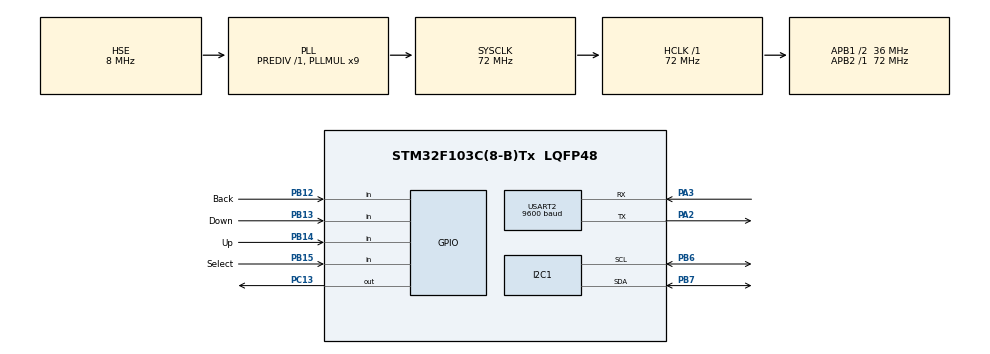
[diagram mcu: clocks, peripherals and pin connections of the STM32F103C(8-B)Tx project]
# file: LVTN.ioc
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Mcu.Family=STM32F1
Mcu.Name=STM32F103C(8-B)Tx
Mcu.Package=LQFP48
NVIC.PriorityGroup=NVIC_PRIORITYGROUP_4
NVIC.USART2_IRQn=true\:0\:0\:false\:false\:true\:true\:true\:true
PA13.Mode=Serial_Wire
PA13.Signal=SYS_JTMS-SWDIO
PA14.Mode=Serial_Wire
PA14.Signal=SYS_JTCK-SWCLK
PA2.Mode=Asynchronous
PA2.Signal=USART2_TX
PA3.Mode=Asynchronous
PA3.Signal=USART2_RX
PB12.GPIO_Label=Back
PB12.GPIO_PuPd=GPIO_PULLUP
PB12.Signal=GPIO_Input
PB13.GPIO_Label=Down
PB13.GPIO_PuPd=GPIO_PULLUP
PB13.Signal=GPIO_Input
PB14.GPIO_Label=Up
PB14.GPIO_PuPd=GPIO_PULLUP
PB14.Signal=GPIO_Input
PB15.GPIO_Label=Select
PB15.GPIO_PuPd=GPIO_PULLUP
PB15.Signal=GPIO_Input
PB6.Mode=I2C
PB6.Signal=I2C1_SCL
PB7.Mode=I2C
PB7.Signal=I2C1_SDA
PC13-TAMPER-RTC.Signal=GPIO_Output
PD0-OSC_IN.Mode=HSE-External-Oscillator
PD0-OSC_IN.Signal=RCC_OSC_IN
PD1-OSC_OUT.Mode=HSE-External-Oscillator
PD1-OSC_OUT.Signal=RCC_OSC_OUT
ProjectManager.HeapSize=0x200
ProjectManager.StackSize=0x400
ProjectManager.TargetToolchain=MDK-ARM V5.32
RCC.AHBFreq_Value=72000000
RCC.APB1CLKDivider=RCC_HCLK_DIV2
RCC.APB1Freq_Value=36000000
RCC.APB1TimFreq_Value=72000000
RCC.APB2Freq_Value=72000000
RCC.APB2TimFreq_Value=72000000
RCC.HCLKFreq_Value=72000000
RCC.PLLMUL=RCC_PLL_MUL9
RCC.PLLSourceVirtual=RCC_PLLSOURCE_HSE
RCC.SYSCLKFreq_VALUE=72000000
RCC.SYSCLKSource=RCC_SYSCLKSOURCE_PLLCLK
RCC.USBFreq_Value=72000000
USART2.BaudRate=9600
USART2.VirtualMode=VM_ASYNC
board=custom

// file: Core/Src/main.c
/* USER CODE BEGIN Header */
/**
  ******************************************************************************
  * @file           : main.c
  * @brief          : Main program body
  ******************************************************************************
  * @attention
  *
  * Copyright (c) 2023 STMicroelectronics.
  * All rights reserved.
  *
  * This software is licensed under terms that can be found in the LICENSE file
  * in the root directory of this software component.
  * If no LICENSE file comes with this software, it is provided AS-IS.
  *
  ******************************************************************************
  */
/* USER CODE END Header */
#include "main.h"

/* USER CODE BEGIN Includes */
#include "stdio.h"
#include "string.h"
#include "stdbool.h"
#include "HM3301.h"
#include "SHT30.h"
#include "BH1750.h"
#include "DS1307.h"
#include "CLCD_I2C.h"
#include "AT24C32.h"
/* USER CODE END Includes */

/* USER CODE BEGIN PTD */

//Khoi tao mode
typedef enum{
	Mode1, // Measure
	Mode2, // Memory
	Mode3, // Setting
}Mode_choose;

typedef enum{
	Mode1_Begin,
	Mode1_Measure_Temp1Hum1,
	Mode1_Measure_Temp2Hum2,
	Mode1_Measure_Lux1,
	Mode1_Measure_Lux2,
	Mode1_Measure_PM25,

	Mode1_Save,
}Mode_1_t;

typedef enum{
	Mode2_Begin,
	Mode2_Display_Memory,
}Mode_2_t;

typedef enum{
	Mode3_Begin,
	Mode3_Setting_Time
}Mode_3_t;

//Gan kieu du lieu
struct{
	uint16_t Temp1;
	uint16_t Hum1;
	uint16_t Temp2;
	uint16_t Hum2;
	uint16_t Lux1;
	uint16_t Lux2;
	uint16_t Dust_PM25;
	uint16_t Day;
	uint16_t Month;
	uint16_t Year;
	uint16_t Hour;
	uint16_t Min;
}Buffer_2byte;

struct{

	uint8_t Temp1_High;
	uint8_t Temp1_Low;
	uint8_t Hum1_High;
	uint8_t Hum1_Low;
	uint8_t Temp2_High;
	uint8_t Temp2_Low;
	uint8_t Hum2_High;
	uint8_t Hum2_Low;
	uint8_t Lux1_High;
	uint8_t Lux1_Low;
	uint8_t Lux2_High;
	uint8_t Lux2_Low;
	uint8_t Dust_PM25_High;
	uint8_t Dust_PM25_Low;
	uint8_t Day_High;
	uint8_t Day_Low;
	uint8_t Month_High;
	uint8_t Month_Low;
	uint8_t Year_High;
	uint8_t Year_Low;
	uint8_t Hour_High;
	uint8_t Hour_Low;
	uint8_t Min_High;
	uint8_t Min_Low;

}EEprom_Buffer;

// Khoi tao struct nut nhan
typedef struct {
	GPIO_TypeDef* Button_Port;
	uint16_t Button_Pin;
	bool Press;
}BUTTON_Name;
/* USER CODE END PTD */

 I2C_HandleTypeDef hi2c1;

UART_HandleTypeDef huart2;

/* USER CODE BEGIN PV */

//Khoi tao Count
extern uint16_t volatile timecount,timepress;
//Khoi tao bien UART
char Buffer_Tx[70];

//Khoi tao bien doc Eeprom
uint8_t Page;
uint16_t Read_Temp1_From_EEprom;
uint16_t Read_Hum1_From_EEprom;
uint16_t Read_Temp2_From_EEprom;
uint16_t Read_Hum2_From_EEprom;
uint16_t Read_Lux1_From_EEprom;
uint16_t Read_Lux2_From_EEprom;
uint16_t Read_PM25_From_EEprom;
uint16_t Read =0;

//Khoi tao cam bien HM3301
HM3301_Name HM3301_device_1 =
{
	.i2c_HM3301_handle = &hi2c1,
	.HM3301_address = HM3301_I2C_DEVICE_ADDRESS_ADDR,
};
uint16_t HM3301_PM25,HM3301_PM10,HM3301_PM100;

// Khoi tao cam bien SHT30
SHT30_Name SHT30_device_1=
{
	.i2c_SHT30_handle = &hi2c1,
	.SHT30_address = SHT30_I2C_DEVICE_ADDRESS_ADDR_PIN_HIGH,
};
uint16_t SHT30_Temp1,SHT30_Hum1;

SHT30_Name SHT30_device_2=
{
	.i2c_SHT30_handle = &hi2c1,
	.SHT30_address = SHT30_I2C_DEVICE_ADDRESS_ADDR_PIN_LOW,
};
uint16_t SHT30_Temp2,SHT30_Hum2;

//Khoi tao cam bien BH1750
BH1750_Name BH1750_device_1 =
{
	.i2c_BH1750_handle = &hi2c1,
	.BH1750_address = BH1750_I2C_DEVICE_ADDRESS_ADDR_PIN_HIGH,
};
uint16_t BH1750_Lux1;

BH1750_Name BH1750_device_2 =
{
	.i2c_BH1750_handle = &hi2c1,
	.BH1750_address = BH1750_I2C_DEVICE_ADDRESS_ADDR_PIN_LOW,
};
uint16_t BH1750_Lux2;

//Khoi tao Uart2
char Tx[100];
int8_t volatile Connect_Status = -1;// 1 esp 8266 da ket noi wifi, 0 ko ket noi dc wifi
char Rx;

// Khoi tao nut nhan
BUTTON_Name Select, Up, Down, Back;

//Khoi tao LCD
CLCD_I2C_Name LCD;
bool Display = true;
char String[70];
// Khoi tao DS1307
DS1307_Name DS1307;
/* USER CODE END PV */

void SystemClock_Config(void);
static void MX_GPIO_Init(void);
static void MX_I2C1_Init(void);
static void MX_USART2_UART_Init(void);
/* USER CODE BEGIN PFP */
void Button_Init(BUTTON_Name* Button, GPIO_TypeDef* Button_Port, uint16_t Button_Pin);//ham khoi tao nut nhan
bool Button_Press(BUTTON_Name* Button);	//ham khoi tao nut nhan
uint16_t Uint8_To_Uint16(uint8_t Msb, uint8_t Lsb);
void Update_Setting(void);
uint8_t Setting_Data(uint8_t Data, uint8_t Limit_Down, uint8_t Limit_Up, bool Inc);
/* USER CODE END PFP */

/* USER CODE BEGIN 0 */
#ifdef __GNUC__
#define PUTCHAR_PROTOTYPE int __io_putchar(int ch)
#else
#define PUTCHAR_PROTOTYPE int fputc(int ch, FILE *f)
#endif /* __GNUC__ */

/**
  * @brief  Retargets the C library printf function to the USART.
  * @param  None
  * @retval None
  */

void HAL_UART_RxCpltCallback(UART_HandleTypeDef *huart)
{
  if(Rx == '1') Connect_Status = 1;
	if(Rx == '0') Connect_Status = 0;
	HAL_UART_Receive_IT(&huart2,(uint8_t *)&Rx,1);
}
/* USER CODE END 0 */

int main(void)
{

  /* MCU Configuration--------------------------------------------------------*/

  /* Reset of all peripherals, Initializes the Flash interface and the Systick. */
  HAL_Init();

  /* Configure the system clock */
  SystemClock_Config();

  /* Initialize all configured peripherals */
  MX_GPIO_Init();
  MX_I2C1_Init();
  MX_USART2_UART_Init();
  /* USER CODE BEGIN 2 */
	HAL_UART_Receive_IT(&huart2,(uint8_t *)&Rx,1);

// khoi tao nut nhan
	Button_Init(&Select,Select_GPIO_Port,Select_Pin);
	Button_Init(&Up,Up_GPIO_Port,Up_Pin);
	Button_Init(&Down,Down_GPIO_Port,Down_Pin);
	Button_Init(&Back,Back_GPIO_Port,Back_Pin);
	if(DS1307_GetClockHalt() != 0)	DS1307_SetClockHalt(0);

	CLCD_I2C_Init(&LCD,&hi2c1,0x7e,20,4);
	CLCD_I2C_SetCursor(&LCD, 0, 0);
	CLCD_I2C_WriteString(&LCD,"Thiet lap he thong");

	HAL_Delay(2000);
///*
		while(1)
		{
			if(Connect_Status ==1)
			{
				CLCD_I2C_Clear(&LCD);
				CLCD_I2C_SetCursor(&LCD,0,0);
				CLCD_I2C_WriteString(&LCD,"ESP8266 ket noi wifi");
				HAL_Delay(2000);
				break;
			}
			if(Connect_Status == 0)
			{
				if(Display == true)
				{
					Display =false;
				CLCD_I2C_Clear(&LCD);
				CLCD_I2C_SetCursor(&LCD,0,0);
				CLCD_I2C_WriteString(&LCD,"ESP8266 chua ket noi ");
				CLCD_I2C_SetCursor(&LCD,0,1);
				CLCD_I2C_WriteString(&LCD,"Truy cap wifi va IP ");
				CLCD_I2C_SetCursor(&LCD,0,2);
				CLCD_I2C_WriteString(&LCD,"ESP_154933");
				CLCD_I2C_SetCursor(&LCD,0,3);
				CLCD_I2C_WriteString(&LCD,"192.168.4.1");
				}
			}
		}
//*/
	Mode_choose Current_Mode = Mode1;
	Mode_1_t Mode_1_Status = Mode1_Begin;
	Mode_2_t Mode_2_Status = Mode2_Begin;
	Mode_3_t Mode_3_Status = Mode3_Begin;
  /* USER CODE END 2 */

  /* Infinite loop */
  while (1)
  {

    /* USER CODE BEGIN 3 */
		switch(Current_Mode)
		{
			case Mode1:
			{
				switch(Mode_1_Status)
				{
					case Mode1_Begin:
					{
						if(timecount >1000)
						{
							timecount=0;
							CLCD_I2C_SetCursor(&LCD, 0, 0);
							DS1307_gettime(&DS1307);
							sprintf((char *)String,"%02d/%02d/20%02d %02d:%02d:%02d ",DS1307.date,DS1307.month,DS1307.year,DS1307.hour,DS1307.min,DS1307.sec);
							CLCD_I2C_WriteString(&LCD,String);
							Display = true;
						}
						if(Display == true)
						{
							Display = false;
							timecount = 0;
							CLCD_I2C_SetCursor(&LCD, 0, 0);
							DS1307_gettime(&DS1307);
							sprintf((char *)String,"%02d/%02d/20%02d %02d:%02d:%02d",DS1307.date,DS1307.month,DS1307.year,DS1307.hour,DS1307.min,DS1307.sec);
							CLCD_I2C_WriteString(&LCD,String);
							CLCD_I2C_SetCursor(&LCD, 0, 1);
							CLCD_I2C_WriteString(&LCD,"T1:");
							CLCD_I2C_SetCursor(&LCD, 6, 1);
							CLCD_I2C_WriteString(&LCD,"H1:");
							CLCD_I2C_SetCursor(&LCD, 12, 1);
							CLCD_I2C_WriteString(&LCD,"L1:");
							CLCD_I2C_SetCursor(&LCD, 0, 2);
							CLCD_I2C_WriteString(&LCD,"T2:");
							CLCD_I2C_SetCursor(&LCD, 6, 2);
							CLCD_I2C_WriteString(&LCD,"H2:");
							CLCD_I2C_SetCursor(&LCD, 12, 2);
							CLCD_I2C_WriteString(&LCD,"L2:");
							CLCD_I2C_SetCursor(&LCD, 0, 3);
							CLCD_I2C_WriteString(&LCD,"PM2.5:");
							CLCD_I2C_SetCursor(&LCD, 14, 3);
							CLCD_I2C_WriteString(&LCD,"Mode1");
						}
						if(Button_Press(&Up))
						{

							Current_Mode = Mode2;
							CLCD_I2C_Clear(&LCD);
							Display=true;
						}
						if(Button_Press(&Select))
						{
							CLCD_I2C_SetCursor(&LCD, 14, 3);
							CLCD_I2C_WriteString(&LCD,"      ");
							timecount = 0;
							HM3301_PM25 =0; // Reset gia tri cu
							SHT30_Temp1=0;
							SHT30_Hum1 =0;
							SHT30_Temp2 =0;
							SHT30_Hum2 =0;
							BH1750_Lux1 = 0;
							BH1750_Lux2 = 0;
							CLCD_I2C_SetCursor(&LCD, 0, 0);
							CLCD_I2C_WriteString(&LCD,"Bat dau do gia tri:");
							HAL_Delay(2000);
							Mode_1_Status = Mode1_Measure_Temp1Hum1;
						}
					}
					break;
					case Mode1_Measure_Temp1Hum1:
					{
							CLCD_I2C_SetCursor(&LCD, 0, 0);
							CLCD_I2C_WriteString(&LCD,"Do Temp1 Hum1:     ");
							SHT30_Read_Temperature_And_Humidity(&SHT30_device_1,&SHT30_Temp1,&SHT30_Hum1);
							HAL_Delay(500);
							CLCD_I2C_SetCursor(&LCD, 3, 1);
							sprintf((char *)String,"%2d",SHT30_Temp1);
							CLCD_I2C_WriteString(&LCD,String);
							CLCD_I2C_SetCursor(&LCD, 9, 1);
							sprintf((char *)String,"%2d",SHT30_Hum1);
							CLCD_I2C_WriteString(&LCD,String);
							HAL_Delay(2000);
							Mode_1_Status = Mode1_Measure_Temp2Hum2;

					}
					break;
					case Mode1_Measure_Temp2Hum2:
					{
							CLCD_I2C_SetCursor(&LCD, 0, 0);
							CLCD_I2C_WriteString(&LCD,"Do Temp2 Hum2:     ");
							SHT30_Read_Temperature_And_Humidity(&SHT30_device_2,&SHT30_Temp2,&SHT30_Hum2);
							HAL_Delay(500);
							CLCD_I2C_SetCursor(&LCD, 3, 2);
							sprintf((char *)String,"%2d",SHT30_Temp2);
							CLCD_I2C_WriteString(&LCD,String);
							CLCD_I2C_SetCursor(&LCD, 9, 2);
							sprintf((char *)String,"%2d",SHT30_Hum2);
							CLCD_I2C_WriteString(&LCD,String);
							HAL_Delay(2000);
							Mode_1_Status = Mode1_Measure_Lux1;

					}
					break;
					case Mode1_Measure_Lux1:
					{
							CLCD_I2C_SetCursor(&LCD, 0, 0);
							CLCD_I2C_WriteString(&LCD,"Do cuong do sang1:  ");
							BH1750_Read_Lux_Mode_One_Time(&BH1750_device_1,&BH1750_Lux1);
							HAL_Delay(500);
							CLCD_I2C_SetCursor(&LCD, 15, 1);
							sprintf((char *)String,"%2d",BH1750_Lux1);
							CLCD_I2C_WriteString(&LCD,String);
							HAL_Delay(2000);
							Mode_1_Status = Mode1_Measure_Lux2;
					}
					break;
					case Mode1_Measure_Lux2:
					{
							CLCD_I2C_SetCursor(&LCD, 0, 0);
							CLCD_I2C_WriteString(&LCD,"Do cuong do sang2:  ");
							BH1750_Read_Lux_Mode_One_Time(&BH1750_device_2,&BH1750_Lux2);
							HAL_Delay(500);
							CLCD_I2C_SetCursor(&LCD, 15, 2);
							sprintf((char *)String,"%2d",BH1750_Lux2);
							CLCD_I2C_WriteString(&LCD,String);
							HAL_Delay(2000);
							Mode_1_Status = Mode1_Measure_PM25;
					}
					break;
					case Mode1_Measure_PM25:
					{
						CLCD_I2C_SetCursor(&LCD, 0, 0);
						CLCD_I2C_WriteString(&LCD,"Do bui PM2.5:       ");
						HM3301_Read_Dust_Value_Standard_Particulate(&HM3301_device_1,&HM3301_PM10,&HM3301_PM25,&HM3301_PM100);
						HAL_Delay(500);
						CLCD_I2C_SetCursor(&LCD, 6, 3);
						sprintf((char *)String,"%2d",HM3301_PM25);
						CLCD_I2C_WriteString(&LCD,String);
						HAL_Delay(2000);
						CLCD_I2C_SetCursor(&LCD, 0, 0);
						CLCD_I2C_WriteString(&LCD,"Da do xong gia tri:");
						Mode_1_Status = Mode1_Save;
					}

					break;
					case Mode1_Save:
					{

						if(Button_Press(&Back))
						{

							CLCD_I2C_SetCursor(&LCD, 0, 0);
							CLCD_I2C_WriteString(&LCD,"Khong luu lai:      ");
							HM3301_PM25 =0; // Reset gia tri
							SHT30_Temp1=0;
							SHT30_Hum1 =0;
							SHT30_Temp2 =0;
							SHT30_Hum2 =0;
							BH1750_Lux1 = 0;
							BH1750_Lux2 = 0;
							HAL_Delay(2000);
							Mode_1_Status = Mode1_Begin;
							CLCD_I2C_Clear(&LCD);
							Display = true;
						}

						if(Button_Press(&Select))
						{
							CLCD_I2C_SetCursor(&LCD, 0, 0);
							CLCD_I2C_WriteString(&LCD,"Dang luu gia tri:   ");
							for(int i=10;i>=0;i--)
							{
								AT24C32_ReadEEPROM(i*25,&EEprom_Buffer,24);
								AT24C32_WriteEEPROM((i+1)*25,&EEprom_Buffer,24);
							}

							Buffer_2byte.Temp1 = SHT30_Temp1;
							Buffer_2byte.Hum1 = SHT30_Hum1;
							Buffer_2byte.Temp2 = SHT30_Temp2;
							Buffer_2byte.Hum2 = SHT30_Hum2;
							Buffer_2byte.Lux1 = BH1750_Lux1;
							Buffer_2byte.Lux2 = BH1750_Lux2;
							Buffer_2byte.Dust_PM25 = HM3301_PM25;
							Buffer_2byte.Day =DS1307.date;
							Buffer_2byte.Month = DS1307.month;
							Buffer_2byte.Year = DS1307.year;
							Buffer_2byte.Hour = DS1307.hour;
							Buffer_2byte.Min = DS1307.min;

							EEprom_Buffer.Temp1_High = (Buffer_2byte.Temp1 >>8u) & 0xff;
							EEprom_Buffer.Temp1_Low = Buffer_2byte.Temp1  & 0xff;
							EEprom_Buffer.Hum1_High = (Buffer_2byte.Hum1 >>8u) & 0xff;
							EEprom_Buffer.Hum1_Low = Buffer_2byte.Hum1  & 0xff;
							EEprom_Buffer.Temp2_High = (Buffer_2byte.Temp2 >>8u) & 0xff;
							EEprom_Buffer.Temp2_Low = Buffer_2byte.Temp2  & 0xff;
							EEprom_Buffer.Hum2_High = (Buffer_2byte.Hum2 >>8u) & 0xff;
							EEprom_Buffer.Hum2_Low = Buffer_2byte.Hum2  & 0xff;
							EEprom_Buffer.Lux1_High = (Buffer_2byte.Lux1 >>8u) & 0xff;
							EEprom_Buffer.Lux1_Low = Buffer_2byte.Lux1  & 0xff;
							EEprom_Buffer.Lux2_High = (Buffer_2byte.Lux2 >>8u) & 0xff;
							EEprom_Buffer.Lux2_Low = Buffer_2byte.Lux2  & 0xff;
							EEprom_Buffer.Dust_PM25_High = (Buffer_2byte.Dust_PM25 >>8u) &0xff;
							EEprom_Buffer.Dust_PM25_Low = Buffer_2byte.Dust_PM25  &0xff;
							EEprom_Buffer.Day_High = (Buffer_2byte.Day>>8u) & 0xff;
							EEprom_Buffer.Day_Low = 	Buffer_2byte.Day & 0xff;
							EEprom_Buffer.Month_High = (Buffer_2byte.Month>>8u) & 0xff;
							EEprom_Buffer.Month_Low = 	Buffer_2byte.Month & 0xff;
							EEprom_Buffer.Year_High = (Buffer_2byte.Year>>8u) & 0xff;
							EEprom_Buffer.Year_Low = 	Buffer_2byte.Year & 0xff;
							EEprom_Buffer.Hour_High = (Buffer_2byte.Hour>>8u) & 0xff;
							EEprom_Buffer.Hour_Low = 	Buffer_2byte.Hour & 0xff;
							EEprom_Buffer.Min_High = (Buffer_2byte.Min>>8u) & 0xff;
							EEprom_Buffer.Min_Low = 	Buffer_2byte.Min & 0xff;
							AT24C32_WriteEEPROM(0,&EEprom_Buffer,24);
							HAL_Delay(2000);
							CLCD_I2C_SetCursor(&LCD, 0, 0);
							CLCD_I2C_WriteString(&LCD,"Da luu gia tri:    ");
							sprintf((char *)Tx,"A%2dB%2dC%2dD%2dE%2dF%2dG%2dH",SHT30_Temp1,SHT30_Hum1,SHT30_Temp2,SHT30_Hum2,BH1750_Lux1,BH1750_Lux2,HM3301_PM25);
							HAL_UART_Transmit(&huart2,(uint8_t*)Tx,sizeof(Tx),1000);
							HAL_Delay(10000);
							Mode_1_Status = Mode1_Begin;
							CLCD_I2C_Clear(&LCD);
							Display = true;
						}
					}
					break;
				}
			}
			break;
			case Mode2:
			{
				switch(Mode_2_Status)
				{
					case Mode2_Begin:
					{
						if(Display == true)
						{
							Display = false;
							CLCD_I2C_SetCursor(&LCD, 0, 0);
							CLCD_I2C_WriteString(&LCD,"Mode2");
						}

						if(Button_Press(&Up))
						{
							Current_Mode = Mode3;
							CLCD_I2C_Clear(&LCD);
							Display=true;
						}
							if(Button_Press(&Down))
						{
							Current_Mode = Mode1;
							CLCD_I2C_Clear(&LCD);
							Display=true;
						}
						if(Button_Press(&Select))
						{
							Mode_2_Status = Mode2_Display_Memory;
							Page =0;
							CLCD_I2C_Clear(&LCD);
							Display=true;
						}
					}
					break;
					case Mode2_Display_Memory:
					{
						if(Display == true)
						{
							Display = false;
							CLCD_I2C_SetCursor(&LCD, 0, 0);
							AT24C32_ReadEEPROM(Page*25,&EEprom_Buffer,24);
							sprintf((char *)String,"M%1d:%02d/%02d/20%02d %02d:%02d",Page+1,EEprom_Buffer.Day_Low,EEprom_Buffer.Month_Low,EEprom_Buffer.Year_Low,EEprom_Buffer.Hour_Low,EEprom_Buffer.Min_Low);
							CLCD_I2C_WriteString(&LCD,String);
							//Hien thi Temp1
							CLCD_I2C_SetCursor(&LCD, 0, 1);
							Read_Temp1_From_EEprom = Uint8_To_Uint16(EEprom_Buffer.Temp1_High,EEprom_Buffer.Temp1_Low);
							sprintf((char *)String,"T1:%2d",Read_Temp1_From_EEprom);
							CLCD_I2C_WriteString(&LCD,String);

							//Hien thi Hum1
							CLCD_I2C_SetCursor(&LCD, 6, 1);
							Read_Hum1_From_EEprom = Uint8_To_Uint16(EEprom_Buffer.Hum1_High,EEprom_Buffer.Hum1_Low);
							sprintf((char *)String,"H1:%2d",Read_Hum1_From_EEprom);
							CLCD_I2C_WriteString(&LCD,String);

							// Hien thi Lux1
							CLCD_I2C_SetCursor(&LCD, 12, 1);
							Read_Lux1_From_EEprom = Uint8_To_Uint16(EEprom_Buffer.Lux1_High,EEprom_Buffer.Lux1_Low);
							sprintf((char *)String,"L1:%5d",Read_Lux1_From_EEprom);
							CLCD_I2C_WriteString(&LCD,String);

							//Hien thi Temp2
							CLCD_I2C_SetCursor(&LCD, 0, 2);
							Read_Temp2_From_EEprom = Uint8_To_Uint16(EEprom_Buffer.Temp2_High,EEprom_Buffer.Temp2_Low);
							sprintf((char *)String,"T2:%2d",Read_Temp2_From_EEprom);
							CLCD_I2C_WriteString(&LCD,String);

							//Hien thi Hum2
							CLCD_I2C_SetCursor(&LCD, 6, 2);
							Read_Hum2_From_EEprom = Uint8_To_Uint16(EEprom_Buffer.Hum2_High,EEprom_Buffer.Hum2_Low);
							sprintf((char *)String,"H2:%2d",Read_Hum2_From_EEprom);
							CLCD_I2C_WriteString(&LCD,String);

							//Hien thi Lux2
							CLCD_I2C_SetCursor(&LCD, 12, 2);
							Read_Lux2_From_EEprom = Uint8_To_Uint16(EEprom_Buffer.Lux2_High,EEprom_Buffer.Lux2_Low);
							sprintf((char *)String,"L2:%5d",Read_Lux2_From_EEprom);
							CLCD_I2C_WriteString(&LCD,String);

							//Hien thi PM2.5
							CLCD_I2C_SetCursor(&LCD, 0, 3);
							Read_PM25_From_EEprom = Uint8_To_Uint16(EEprom_Buffer.Dust_PM25_High,EEprom_Buffer.Dust_PM25_Low);
							sprintf((char *)String,"PM25:%4d",Read_PM25_From_EEprom);
							CLCD_I2C_WriteString(&LCD,String);
						}
						if(Button_Press(&Select) && timepress > 1000)
						{
							//Dich vung nho
							for(int8_t i=Page;i<=10 ;i++)
							{
								AT24C32_ReadEEPROM((i+1)*25,&EEprom_Buffer,24);
								AT24C32_WriteEEPROM(i*25,&EEprom_Buffer,24);
							}
							//Xoa o nho cuoi cung
							EEprom_Buffer.Temp1_High = 0;
							EEprom_Buffer.Temp1_Low = 0;
							EEprom_Buffer.Hum1_High = 0;
							EEprom_Buffer.Hum1_Low = 0;
							EEprom_Buffer.Temp2_High = 0;
							EEprom_Buffer.Temp2_Low = 0;
							EEprom_Buffer.Hum2_High = 0;
							EEprom_Buffer.Hum2_Low = 0;
							EEprom_Buffer.Lux1_High = 0;
							EEprom_Buffer.Lux1_Low = 0;
							EEprom_Buffer.Lux2_High = 0;
							EEprom_Buffer.Lux2_Low = 0;
							EEprom_Buffer.Dust_PM25_High = 0;
							EEprom_Buffer.Dust_PM25_Low = 0;
							EEprom_Buffer.Day_High = 0;
							EEprom_Buffer.Day_Low = 	0;
							EEprom_Buffer.Month_High =0;
							EEprom_Buffer.Month_Low = 	0;
							EEprom_Buffer.Year_High = 0;
							EEprom_Buffer.Year_Low = 0;
							EEprom_Buffer.Hour_High = 0;
							EEprom_Buffer.Hour_Low = 	0;
							EEprom_Buffer.Min_High = 0;
							EEprom_Buffer.Min_Low = 	0;
							AT24C32_WriteEEPROM(275,&EEprom_Buffer,24);
							CLCD_I2C_Clear(&LCD);
							Display = true;
						}
							if(Button_Press(&Back))
						{
							CLCD_I2C_Clear(&LCD);
							Display=true;
							Mode_2_Status = Mode2_Begin;

						}
						if(Button_Press(&Up))
						{
							if(Page<10)
							{
								CLCD_I2C_Clear(&LCD);
								Display=true;
								Page++;
							}
						}
						if(Button_Press(&Down))
						{

							if(Page>0)
							{
								CLCD_I2C_Clear(&LCD);
								Display=true;
								Page--;
							}
						}

					}
					break;
				}
			}
			break;
			case Mode3:
			{
				switch(Mode_3_Status)
				{
					case Mode3_Begin:
					{
						if(Display ==true)
						{
							Display =false;
							CLCD_I2C_SetCursor(&LCD,0,0);
							CLCD_I2C_Clear(&LCD);
							CLCD_I2C_WriteString(&LCD,"Mode3");
						}
						if(Button_Press(&Down))
						{
							Current_Mode = Mode2;
							CLCD_I2C_Clear(&LCD);
							Display=true;
						}
						if(Button_Press(&Select))
						{
							Mode_3_Status = Mode3_Setting_Time;
							CLCD_I2C_Clear(&LCD);
							Display=true;
						}
					}
					break;
					case Mode3_Setting_Time:
					{

						if(Display ==true)
						{
						Display=false;
						CLCD_I2C_SetCursor(&LCD,0,0);
						CLCD_I2C_WriteString(&LCD,"Cai dat thoi gian:  ");

						}
						if(timecount >1000)
						{
						timecount =0;
						DS1307_gettime(&DS1307);
						CLCD_I2C_SetCursor(&LCD,0,1);
						sprintf((char *)String,"%02d/%02d/20%02d %02d:%02d:%02d",DS1307.date,DS1307.month,DS1307.year,DS1307.hour,DS1307.min,DS1307.sec);
						CLCD_I2C_WriteString(&LCD,String);
						}
						if(Button_Press(&Select) && timepress >1000)
						{
							timepress = 0;
							CLCD_I2C_BlinkOn(&LCD);
							uint8_t number=1;
							while(1)
							{
							if(Button_Press(&Select))
							{
								timepress =0;
								number++;
							}
							if(number>5)
							{
								number =1;
							}
								if(Button_Press(&Back))
							{
								CLCD_I2C_SetCursor(&LCD,0,0);
								CLCD_I2C_WriteString(&LCD,"Da luu lai cai dat: ");
								DS1307_settime(0,DS1307.min,DS1307.hour,DS1307.date,DS1307.month,DS1307.year);
								CLCD_I2C_BlinkOff(&LCD);
								HAL_Delay(2000);
								Display =true;
								break;
							}
							switch (number)
							{
								case 1:
								{
									CLCD_I2C_SetCursor(&LCD,0,1);
									if(Button_Press(&Up)){DS1307.date = Setting_Data(DS1307.date,1,31,1);}
									if(Button_Press(&Down)){DS1307.date = Setting_Data(DS1307.date,1,31,0);}

								}
								break;
								case 2:
								{
									CLCD_I2C_SetCursor(&LCD,3,1);
									if(Button_Press(&Up)){DS1307.month = Setting_Data(DS1307.month,1,12,1);}
									if(Button_Press(&Down)){DS1307.month = Setting_Data(DS1307.month,1,12,0);}
								}
								break;
								case 3:
								{
									CLCD_I2C_SetCursor(&LCD,8,1);
									if(Button_Press(&Up)){DS1307.year = Setting_Data(DS1307.year,0,99,1);}
									if(Button_Press(&Down)){DS1307.year = Setting_Data(DS1307.year,0,99,0);}
								}
								break;
								case 4:
								{
									CLCD_I2C_SetCursor(&LCD,11,1);
									if(Button_Press(&Up)){DS1307.hour = Setting_Data(DS1307.hour,0,23,1);}
									if(Button_Press(&Down)){DS1307.hour = Setting_Data(DS1307.hour,0,23,0);}
								}
								break;
								case 5:
								{
									CLCD_I2C_SetCursor(&LCD,14,1);
									if(Button_Press(&Up)){DS1307.min = Setting_Data(DS1307.min,0,59,1);}
									if(Button_Press(&Down)){DS1307.min = Setting_Data(DS1307.min,0,59,0);}
								}
								break;
							}

							}

						}
								if(Button_Press(&Back))
						{
							Mode_3_Status = Mode3_Begin;
							CLCD_I2C_Clear(&LCD);
							Display =true;

						}
					}
					break;
				}
			}
			break;
		}
  }
  /* USER CODE END 3 */
}

void SystemClock_Config(void)
{
  RCC_OscInitTypeDef RCC_OscInitStruct = {0};
  RCC_ClkInitTypeDef RCC_ClkInitStruct = {0};

  /** Initializes the RCC Oscillators according to the specified parameters
  * in the RCC_OscInitTypeDef structure.
  */
  RCC_OscInitStruct.OscillatorType = RCC_OSCILLATORTYPE_HSE;
  RCC_OscInitStruct.HSEState = RCC_HSE_ON;
  RCC_OscInitStruct.HSEPredivValue = RCC_HSE_PREDIV_DIV1;
  RCC_OscInitStruct.HSIState = RCC_HSI_ON;
  RCC_OscInitStruct.PLL.PLLState = RCC_PLL_ON;
  RCC_OscInitStruct.PLL.PLLSource = RCC_PLLSOURCE_HSE;
  RCC_OscInitStruct.PLL.PLLMUL = RCC_PLL_MUL9;
  if (HAL_RCC_OscConfig(&RCC_OscInitStruct) != HAL_OK)
  {
    Error_Handler();
  }

  /** Initializes the CPU, AHB and APB buses clocks
  */
  RCC_ClkInitStruct.ClockType = RCC_CLOCKTYPE_HCLK|RCC_CLOCKTYPE_SYSCLK
                              |RCC_CLOCKTYPE_PCLK1|RCC_CLOCKTYPE_PCLK2;
  RCC_ClkInitStruct.SYSCLKSource = RCC_SYSCLKSOURCE_PLLCLK;
  RCC_ClkInitStruct.AHBCLKDivider = RCC_SYSCLK_DIV1;
  RCC_ClkInitStruct.APB1CLKDivider = RCC_HCLK_DIV2;
  RCC_ClkInitStruct.APB2CLKDivider = RCC_HCLK_DIV1;

  if (HAL_RCC_ClockConfig(&RCC_ClkInitStruct, FLASH_LATENCY_2) != HAL_OK)
  {
    Error_Handler();
  }
}

static void MX_I2C1_Init(void)
{

  hi2c1.Instance = I2C1;
  hi2c1.Init.ClockSpeed = 100000;
  hi2c1.Init.DutyCycle = I2C_DUTYCYCLE_2;
  hi2c1.Init.OwnAddress1 = 0;
  hi2c1.Init.AddressingMode = I2C_ADDRESSINGMODE_7BIT;
  hi2c1.Init.DualAddressMode = I2C_DUALADDRESS_DISABLE;
  hi2c1.Init.OwnAddress2 = 0;
  hi2c1.Init.GeneralCallMode = I2C_GENERALCALL_DISABLE;
  hi2c1.Init.NoStretchMode = I2C_NOSTRETCH_DISABLE;
  if (HAL_I2C_Init(&hi2c1) != HAL_OK)
  {
    Error_Handler();
  }

}

static void MX_USART2_UART_Init(void)
{

  huart2.Instance = USART2;
  huart2.Init.BaudRate = 9600;
  huart2.Init.WordLength = UART_WORDLENGTH_8B;
  huart2.Init.StopBits = UART_STOPBITS_1;
  huart2.Init.Parity = UART_PARITY_NONE;
  huart2.Init.Mode = UART_MODE_TX_RX;
  huart2.Init.HwFlowCtl = UART_HWCONTROL_NONE;
  huart2.Init.OverSampling = UART_OVERSAMPLING_16;
  if (HAL_UART_Init(&huart2) != HAL_OK)
  {
    Error_Handler();
  }

}

static void MX_GPIO_Init(void)
{
  GPIO_InitTypeDef GPIO_InitStruct = {0};

  /* GPIO Ports Clock Enable */
  __HAL_RCC_GPIOC_CLK_ENABLE();
  __HAL_RCC_GPIOD_CLK_ENABLE();
  __HAL_RCC_GPIOA_CLK_ENABLE();
  __HAL_RCC_GPIOB_CLK_ENABLE();

  /*Configure GPIO pin Output Level */
  HAL_GPIO_WritePin(GPIOC, GPIO_PIN_13, GPIO_PIN_RESET);

  /*Configure GPIO pin : PC13 */
  GPIO_InitStruct.Pin = GPIO_PIN_13;
  GPIO_InitStruct.Mode = GPIO_MODE_OUTPUT_PP;
  GPIO_InitStruct.Pull = GPIO_NOPULL;
  GPIO_InitStruct.Speed = GPIO_SPEED_FREQ_LOW;
  HAL_GPIO_Init(GPIOC, &GPIO_InitStruct);

  /*Configure GPIO pins : Back_Pin Down_Pin Up_Pin Select_Pin */
  GPIO_InitStruct.Pin = Back_Pin|Down_Pin|Up_Pin|Select_Pin;
  GPIO_InitStruct.Mode = GPIO_MODE_INPUT;
  GPIO_InitStruct.Pull = GPIO_PULLUP;
  HAL_GPIO_Init(GPIOB, &GPIO_InitStruct);

}

/* USER CODE BEGIN 4 */
void Button_Init(BUTTON_Name* Button, GPIO_TypeDef* Button_Port, uint16_t Button_Pin)
{
	Button->Button_Port = Button_Port;
	Button->Button_Pin = Button_Pin;
	Button->Press = false;
}
bool Button_Press(BUTTON_Name* Button)
{
	if(HAL_GPIO_ReadPin(Button->Button_Port, Button->Button_Pin) == RESET)
	{
		if(Button->Press == false)
		{
			Button->Press = true;
	//		timepress = 0;
			HAL_Delay(50);
			return false;
		}
		else return false;
	}
	else
	{
		if(Button->Press == true)
		{
			Button->Press = false;
			return true;
		}
		else return false;
	}
}
uint16_t Uint8_To_Uint16(uint8_t Msb, uint8_t Lsb) // chuyen 2 byte 8 bit thanh 1 byte 16bit
{
   return (uint16_t)((uint16_t)Msb << 8u) | Lsb;
}
uint8_t Setting_Data(uint8_t Data, uint8_t Limit_Down, uint8_t Limit_Up, bool Inc)
{
	if(Inc == true)
	{
		if(Data < Limit_Up)	Data++;
		else	Data = Limit_Down;
	}
	else
	{
		if(Data > Limit_Down)	Data--;
		else	Data = Limit_Up;
	}
	sprintf((char *)String,"%02d",Data);
	CLCD_I2C_WriteString(&LCD,String);
	return Data;
}
void Update_Setting(void)
{

	DS1307_gettime(&DS1307);
	CLCD_I2C_SetCursor(&LCD,0,1);
	sprintf((char *)String,"%02d/%02d/20%02d %02d:%02d",DS1307.date,DS1307.month,DS1307.year,DS1307.hour,DS1307.min);
	CLCD_I2C_WriteString(&LCD,String);
}

/* USER CODE END 4 */

void Error_Handler(void)
{
  __disable_irq();
  while (1)
  {
  }
}
